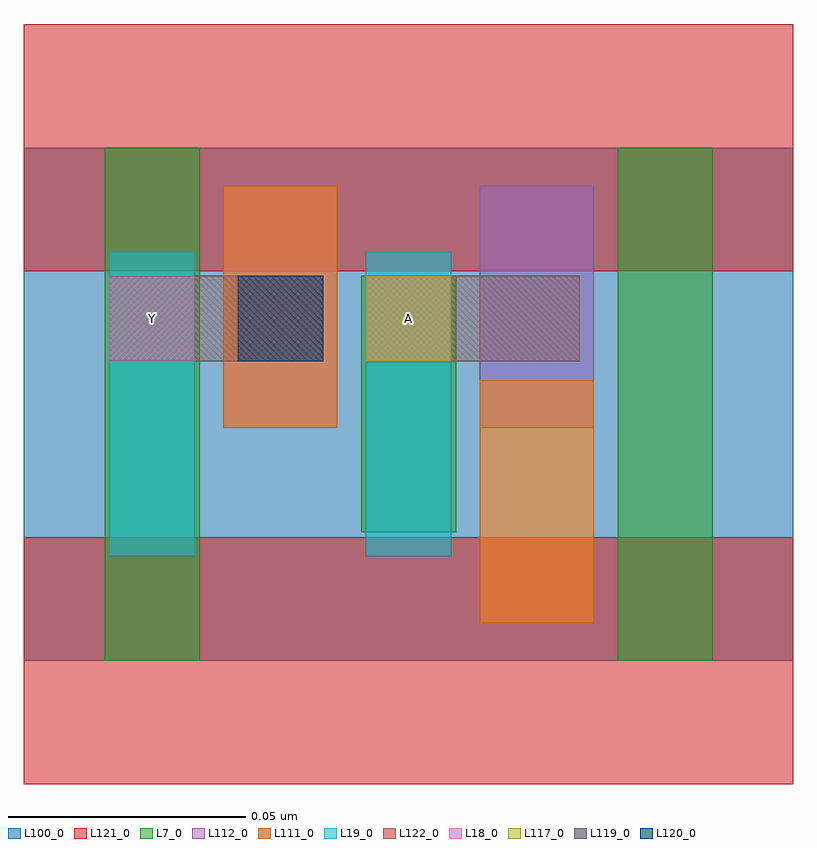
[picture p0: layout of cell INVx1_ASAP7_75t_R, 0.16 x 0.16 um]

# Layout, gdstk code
import gdstk
lib = gdstk.Library(unit=1e-6, precision=2.5e-10)
def R(c, l, rs):  # rectangles x0, y0, x1, y1
    for r in rs: c.add(gdstk.rectangle(r[:2], r[2:], *l))
L7_0 = (7, 0)
L18_0 = (18, 0)
L19_0 = (19, 0)
L100_0 = (100, 0)
L111_0 = (111, 0)
L112_0 = (112, 0)
L117_0 = (117, 0)
L119_0 = (119, 0)
L120_0 = (120, 0)
L121_0 = (121, 0)
L122_0 = (122, 0)

invx1_asap7_75t_r = lib.new_cell('INVx1_ASAP7_75t_R')
R(invx1_asap7_75t_r, L7_0, [(0.017,0,0.037,0.108), (0.125,0,0.145,0.108), (0.071,0.027,0.091,0.081)])
R(invx1_asap7_75t_r, L18_0, [(0.018,0.063,0.036,0.081), (0.072,0.063,0.09,0.081)])
R(invx1_asap7_75t_r, L19_0, [(0.018,0.022,0.036,0.086), (0.072,0.022,0.09,0.086)])
R(invx1_asap7_75t_r, L100_0, [(0,0,0.162,0.108)])
R(invx1_asap7_75t_r, L111_0, [(0.096,0.008,0.12,0.059), (0.042,0.049,0.066,0.1)])
R(invx1_asap7_75t_r, L112_0, [(0.042,0.049,0.066,0.1), (0.096,0.049,0.12,0.1)])
R(invx1_asap7_75t_r, L117_0, [(0.072,0.063,0.09,0.081)])
R(invx1_asap7_75t_r, L119_0, [(0.045,0.063,0.063,0.081)])
R(invx1_asap7_75t_r, L120_0, [(0.045,0.063,0.063,0.081)])
R(invx1_asap7_75t_r, L121_0, [(0,-0.026,0.162,0.026), (0,0.082,0.162,0.134)])
R(invx1_asap7_75t_r, L122_0, [(0.018,0.063,0.063,0.081), (0.072,0.063,0.117,0.081)])
invx1_asap7_75t_r.add(gdstk.Label('Y', (0.027,0.072), layer=19, texttype=251))
invx1_asap7_75t_r.add(gdstk.Label('A', (0.081,0.072), layer=19, texttype=251))

lib.write_gds('INVx1_ASAP7_75t_R.gds')
